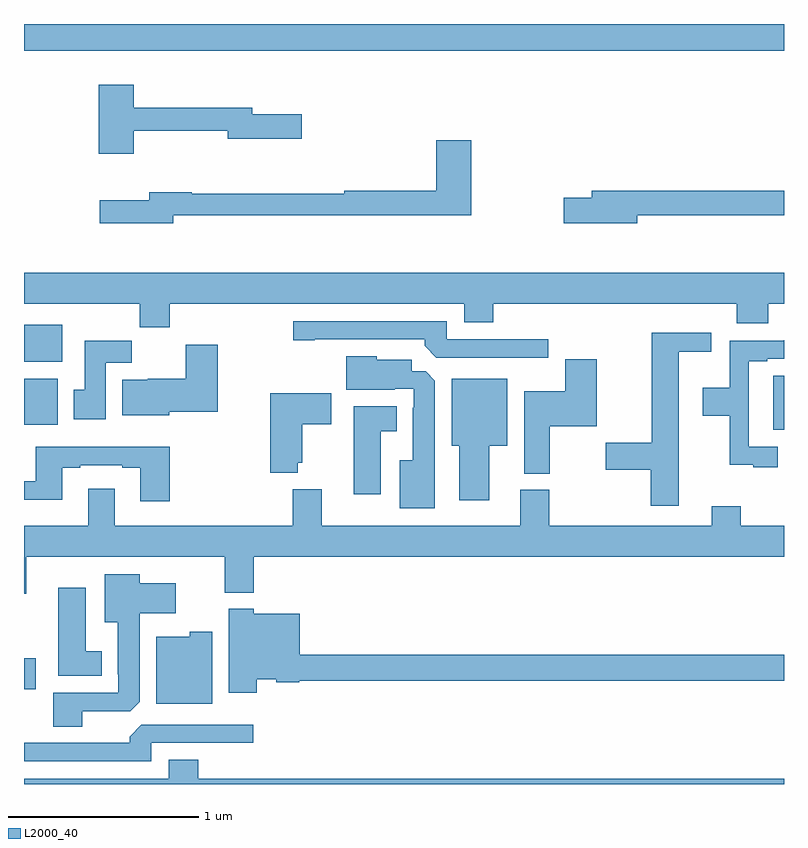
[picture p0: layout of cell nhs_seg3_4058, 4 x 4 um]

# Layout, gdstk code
import gdstk
lib = gdstk.Library(unit=1e-6, precision=1e-09)
def R(c, l, rs):  # rectangles x0, y0, x1, y1
    for r in rs: c.add(gdstk.rectangle(r[:2], r[2:], *l))
def P(c, l, *ps):  # polygons
    for p in ps: c.add(gdstk.Polygon(p, *l))
L2000_40 = (2000, 40)

nhs_seg3_4058 = lib.new_cell('nhs_seg3_4058')
R(nhs_seg3_4058, L2000_40, [(325,686.9,325.063,687.063), (328.943,688.265,329,688.549), (325,688.292,325.177,688.534), (325,688.622,325.201,688.816), (325,690.26,329,690.4)])
P(nhs_seg3_4058, L2000_40, [(325.577,689.838),(326.072,689.838),(326.072,689.795),(326.461,689.795),(326.461,689.925),(326.2,689.925),(326.2,689.959),(325.577,689.959),(325.577,690.079),(325.394,690.079),(325.394,689.718),(325.577,689.718)],
  [(325.786,689.394),(327.353,689.394),(327.353,689.788),(327.17,689.788),(327.17,689.522),(326.686,689.522),(326.686,689.507),(325.882,689.507),(325.882,689.515),(325.658,689.515),(325.658,689.473),(325.398,689.473),(325.398,689.351),(325.786,689.351)],
  [(328.228,689.394),(329,689.394),(329,689.522),(327.989,689.522),(327.989,689.486),(327.84,689.486),(327.84,689.351),(328.228,689.351)],
  [(325.766,688.928),(327.317,688.928),(327.317,688.829),(327.47,688.829),(327.47,688.928),(328.751,688.928),(328.751,688.826),(328.916,688.826),(328.916,688.928),(329,688.928),(329,689.092),(325,689.092),(325,688.928),(325.609,688.928),(325.609,688.804),(325.766,688.804)],
  [(327.76,688.74),(327.225,688.74),(327.225,688.836),(326.418,688.836),(326.418,688.735),(326.53,688.735),(326.53,688.74),(327.11,688.74),(327.11,688.706),(327.171,688.644),(327.76,688.644)],
  [(328.447,688.676),(328.618,688.676),(328.618,688.774),(328.303,688.774),(328.303,688.196),(328.062,688.196),(328.062,688.054),(328.298,688.054),(328.298,687.864),(328.447,687.864)],
  [(328.966,688.176),(328.815,688.176),(328.815,688.626),(328.912,688.626),(328.912,688.638),(329,688.638),(329,688.736),(328.999,688.736),(328.999,688.734),(328.714,688.734),(328.714,688.486),(328.572,688.486),(328.572,688.339),(328.714,688.339),(328.714,688.079),(328.838,688.079),(328.838,688.068),(328.966,688.068)],
  [(325.429,688.616),(325.568,688.616),(325.568,688.734),(325.319,688.734),(325.319,688.476),(325.262,688.476),(325.262,688.32),(325.429,688.32)],
  [(325.764,688.358),(326.021,688.358),(326.021,688.711),(325.85,688.711),(325.85,688.534),(325.65,688.534),(325.65,688.528),(325.517,688.528),(325.517,688.34),(325.764,688.34)],
  [(327.163,688.523),(327.114,688.572),(327.04,688.572),(327.04,688.633),(326.856,688.633),(326.856,688.651),(326.696,688.651),(326.696,688.475),(326.951,688.475),(326.951,688.479),(327.051,688.479),(327.051,688.379),(327.047,688.379),(327.047,688.105),(326.978,688.105),(326.978,687.851),(327.163,687.851)],
  [(327.766,688.283),(328.014,688.283),(328.014,688.636),(327.848,688.636),(327.848,688.468),(327.632,688.468),(327.632,688.033),(327.766,688.033)],
  [(327.448,688.181),(327.544,688.181),(327.544,688.534),(327.251,688.534),(327.251,688.181),(327.29,688.181),(327.29,687.894),(327.448,687.894)],
  [(326.442,688.091),(326.464,688.091),(326.464,688.294),(326.617,688.294),(326.617,688.456),(326.297,688.456),(326.297,688.037),(326.442,688.037)],
  [(326.878,688.256),(326.962,688.256),(326.962,688.387),(326.735,688.387),(326.735,687.924),(326.878,687.924)],
  [(325.766,688.174),(325.061,688.174),(325.061,687.993),(325,687.993),(325,687.896),(325.201,687.896),(325.201,688.065),(325.297,688.065),(325.297,688.077),(325.517,688.077),(325.517,688.065),(325.613,688.065),(325.613,687.888),(325.766,687.888)],
  [(325.012,687.596),(326.057,687.596),(326.057,687.407),(326.21,687.407),(326.21,687.596),(329,687.596),(329,687.76),(328.772,687.76),(328.772,687.862),(328.619,687.862),(328.619,687.76),(327.764,687.76),(327.764,687.948),(327.611,687.948),(327.611,687.76),(326.566,687.76),(326.566,687.952),(326.414,687.952),(326.414,687.76),(325.477,687.76),(325.477,687.955),(325.337,687.955),(325.337,687.76),(325,687.76),(325,687.402),(325.012,687.402)],
  [(325.306,686.784),(325.56,686.784),(325.609,686.833),(325.609,687.299),(325.798,687.299),(325.798,687.457),(325.609,687.457),(325.609,687.505),(325.424,687.505),(325.424,687.251),(325.493,687.251),(325.493,686.977),(325.497,686.977),(325.497,686.88),(325.154,686.88),(325.154,686.701),(325.306,686.701)],
  [(325.408,687.1),(325.324,687.1),(325.324,687.433),(325.181,687.433),(325.181,686.969),(325.408,686.969)],
  [(326.225,686.951),(326.328,686.951),(326.328,686.936),(326.448,686.936),(326.448,686.944),(329,686.944),(329,687.08),(326.452,687.08),(326.452,687.295),(326.208,687.295),(326.208,687.322),(326.078,687.322),(326.078,686.88),(326.225,686.88)],
  [(325.99,687.202),(325.872,687.202),(325.872,687.175),(325.697,687.175),(325.697,686.822),(325.99,686.822)],
  [(325.671,686.616),(326.206,686.616),(326.206,686.712),(325.617,686.712),(325.556,686.65),(325.556,686.616),(325,686.616),(325,686.52),(325.671,686.52)],
  [(325.763,686.527),(325.763,686.428),(325,686.428),(325,686.4),(329,686.4),(329,686.428),(325.916,686.428),(325.916,686.527)])

lib.write_gds('nhs_seg3_4058.gds')
